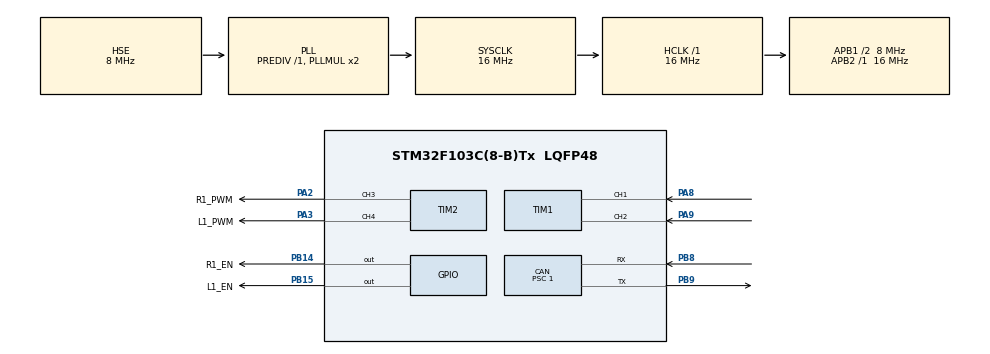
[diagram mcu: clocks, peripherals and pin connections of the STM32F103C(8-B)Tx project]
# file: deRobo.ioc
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CAN.ABOM=ENABLE
CAN.BS1=CAN_BS1_6TQ
CAN.CalculateBaudRate=1000000
CAN.CalculateTimeBit=1000
CAN.CalculateTimeQuantum=125.0
CAN.Prescaler=1
Mcu.Family=STM32F1
Mcu.Name=STM32F103C(8-B)Tx
Mcu.Package=LQFP48
NVIC.CAN1_RX1_IRQn=true\:0\:0\:false\:false\:true\:true\:true\:true
NVIC.CAN1_SCE_IRQn=true\:0\:0\:false\:false\:true\:true\:true\:true
NVIC.PriorityGroup=NVIC_PRIORITYGROUP_4
NVIC.USB_HP_CAN1_TX_IRQn=true\:0\:0\:false\:false\:true\:true\:true\:true
NVIC.USB_LP_CAN1_RX0_IRQn=true\:0\:0\:false\:false\:true\:true\:true\:true
PA13.Mode=Serial_Wire
PA13.Signal=SYS_JTMS-SWDIO
PA14.Mode=Serial_Wire
PA14.Signal=SYS_JTCK-SWCLK
PA2.GPIO_Label=R1_PWM
PA2.Signal=S_TIM2_CH3
PA3.GPIO_Label=L1_PWM
PA3.Signal=S_TIM2_CH4
PA8.Signal=S_TIM1_CH1
PA9.Signal=S_TIM1_CH2
PB14.GPIO_Label=R1_EN
PB14.PinState=GPIO_PIN_SET
PB14.Signal=GPIO_Output
PB15.GPIO_Label=L1_EN
PB15.PinState=GPIO_PIN_SET
PB15.Signal=GPIO_Output
PB8.Mode=CAN_Activate
PB8.Signal=CAN_RX
PB9.Mode=CAN_Activate
PB9.Signal=CAN_TX
PD0-OSC_IN.Mode=HSE-External-Oscillator
PD0-OSC_IN.Signal=RCC_OSC_IN
PD1-OSC_OUT.Mode=HSE-External-Oscillator
PD1-OSC_OUT.Signal=RCC_OSC_OUT
ProjectManager.HeapSize=0x200
ProjectManager.StackSize=0x400
ProjectManager.TargetToolchain=MDK-ARM V5.32
RCC.AHBFreq_Value=16000000
RCC.APB1CLKDivider=RCC_HCLK_DIV2
RCC.APB1Freq_Value=8000000
RCC.APB1TimFreq_Value=16000000
RCC.APB2Freq_Value=16000000
RCC.APB2TimFreq_Value=16000000
RCC.HCLKFreq_Value=16000000
RCC.PLLSourceVirtual=RCC_PLLSOURCE_HSE
RCC.SYSCLKFreq_VALUE=16000000
RCC.SYSCLKSource=RCC_SYSCLKSOURCE_PLLCLK
RCC.USBFreq_Value=16000000
SH.S_TIM1_CH1.0=TIM1_CH1,Encoder_Interface
SH.S_TIM1_CH2.0=TIM1_CH2,Encoder_Interface
SH.S_TIM2_CH3.0=TIM2_CH3,PWM Generation3 CH3
SH.S_TIM2_CH4.0=TIM2_CH4,PWM Generation4 CH4
TIM1.EncoderMode=TIM_ENCODERMODE_TI12
TIM2.Channel-PWM\ Generation3\ CH3=TIM_CHANNEL_3
TIM2.Channel-PWM\ Generation4\ CH4=TIM_CHANNEL_4
VP_TIM3_VS_ClockSourceINT.Mode=Internal
board=custom

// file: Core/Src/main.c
/* USER CODE BEGIN Header */
/**
  ******************************************************************************
  * @file           : main.c
  * @brief          : Main program body
  ******************************************************************************
  * @attention
  *
  * Copyright (c) 2024 STMicroelectronics.
  * All rights reserved.
  *
  * This software is licensed under terms that can be found in the LICENSE file
  * in the root directory of this software component.
  * If no LICENSE file comes with this software, it is provided AS-IS.
  *
  ******************************************************************************
  */
/* USER CODE END Header */
#include "main.h"

CAN_HandleTypeDef hcan;

TIM_HandleTypeDef htim1;
TIM_HandleTypeDef htim2;
TIM_HandleTypeDef htim3;

void SystemClock_Config(void);
static void MX_GPIO_Init(void);
static void MX_CAN_Init(void);
static void MX_TIM2_Init(void);
static void MX_TIM1_Init(void);
static void MX_TIM3_Init(void);
/* USER CODE BEGIN PFP */

void PWM_setFreq_Hz(TIM_HandleTypeDef *htim, uint32_t Freq);
void PWM_setDuty(TIM_HandleTypeDef *htim, HAL_TIM_ActiveChannel Channel, uint8_t Duty);

void Can_FilterConfig(void);
void CAN_Tx(uint32_t Id , uint8_t *tData,uint8_t len);
void Can_Rx(uint8_t *rxData);

/* USER CODE END PFP */

int main(void)
{

  /* USER CODE BEGIN 1 */
	volatile uint32_t encoder_count = 0;
	volatile uint32_t encoder_pre = 0;
	volatile uint32_t rate = 0;
  /* USER CODE END 1 */

  /* MCU Configuration--------------------------------------------------------*/

  /* Reset of all peripherals, Initializes the Flash interface and the Systick. */
  HAL_Init();

  /* Configure the system clock */
  SystemClock_Config();

  /* Initialize all configured peripherals */
  MX_GPIO_Init();
  MX_CAN_Init();
  MX_TIM2_Init();
  MX_TIM1_Init();
  MX_TIM3_Init();
  /* USER CODE BEGIN 2 */
	if(HAL_TIM_PWM_Start(&htim2, TIM_CHANNEL_3) != HAL_OK)
	{
		Error_Handler();
	}
	if(HAL_TIM_PWM_Start(&htim2, TIM_CHANNEL_4) != HAL_OK)
	{
		Error_Handler();
	}
	if(HAL_TIM_Encoder_Start(&htim1, TIM_CHANNEL_1|TIM_CHANNEL_2) != HAL_OK)
	{
		Error_Handler();
	}
	if(HAL_CAN_Start(&hcan) != HAL_OK)
	{
		Error_Handler();
	}

	PWM_setFreq_Hz(&htim2,4000);
	PWM_setDuty(&htim2, TIM_CHANNEL_3,20);
	PWM_setDuty(&htim2, TIM_CHANNEL_4,60);

  /* USER CODE END 2 */

  /* Infinite loop */
  while (1)
  {

    /* USER CODE BEGIN 3 */
		encoder_count = __HAL_TIM_GetCounter(&htim1);
		rate = encoder_count - encoder_pre;
		encoder_pre = encoder_count;
		HAL_Delay(1000);
  }
  /* USER CODE END 3 */
}

void SystemClock_Config(void)
{
  RCC_OscInitTypeDef RCC_OscInitStruct = {0};
  RCC_ClkInitTypeDef RCC_ClkInitStruct = {0};

  /** Initializes the RCC Oscillators according to the specified parameters
  * in the RCC_OscInitTypeDef structure.
  */
  RCC_OscInitStruct.OscillatorType = RCC_OSCILLATORTYPE_HSE;
  RCC_OscInitStruct.HSEState = RCC_HSE_ON;
  RCC_OscInitStruct.HSEPredivValue = RCC_HSE_PREDIV_DIV1;
  RCC_OscInitStruct.HSIState = RCC_HSI_ON;
  RCC_OscInitStruct.PLL.PLLState = RCC_PLL_ON;
  RCC_OscInitStruct.PLL.PLLSource = RCC_PLLSOURCE_HSE;
  RCC_OscInitStruct.PLL.PLLMUL = RCC_PLL_MUL2;
  if (HAL_RCC_OscConfig(&RCC_OscInitStruct) != HAL_OK)
  {
    Error_Handler();
  }

  /** Initializes the CPU, AHB and APB buses clocks
  */
  RCC_ClkInitStruct.ClockType = RCC_CLOCKTYPE_HCLK|RCC_CLOCKTYPE_SYSCLK
                              |RCC_CLOCKTYPE_PCLK1|RCC_CLOCKTYPE_PCLK2;
  RCC_ClkInitStruct.SYSCLKSource = RCC_SYSCLKSOURCE_PLLCLK;
  RCC_ClkInitStruct.AHBCLKDivider = RCC_SYSCLK_DIV1;
  RCC_ClkInitStruct.APB1CLKDivider = RCC_HCLK_DIV2;
  RCC_ClkInitStruct.APB2CLKDivider = RCC_HCLK_DIV1;

  if (HAL_RCC_ClockConfig(&RCC_ClkInitStruct, FLASH_LATENCY_0) != HAL_OK)
  {
    Error_Handler();
  }
}

static void MX_CAN_Init(void)
{

  hcan.Instance = CAN1;
  hcan.Init.Prescaler = 1;
  hcan.Init.Mode = CAN_MODE_NORMAL;
  hcan.Init.SyncJumpWidth = CAN_SJW_1TQ;
  hcan.Init.TimeSeg1 = CAN_BS1_6TQ;
  hcan.Init.TimeSeg2 = CAN_BS2_1TQ;
  hcan.Init.TimeTriggeredMode = DISABLE;
  hcan.Init.AutoBusOff = ENABLE;
  hcan.Init.AutoWakeUp = DISABLE;
  hcan.Init.AutoRetransmission = DISABLE;
  hcan.Init.ReceiveFifoLocked = DISABLE;
  hcan.Init.TransmitFifoPriority = DISABLE;
  if (HAL_CAN_Init(&hcan) != HAL_OK)
  {
    Error_Handler();
  }
  /* USER CODE BEGIN CAN_Init 2 */
	Can_FilterConfig();
  /* USER CODE END CAN_Init 2 */

}

static void MX_TIM1_Init(void)
{

  TIM_Encoder_InitTypeDef sConfig = {0};
  TIM_MasterConfigTypeDef sMasterConfig = {0};

  htim1.Instance = TIM1;
  htim1.Init.Prescaler = 0;
  htim1.Init.CounterMode = TIM_COUNTERMODE_UP;
  htim1.Init.Period = 65535;
  htim1.Init.ClockDivision = TIM_CLOCKDIVISION_DIV1;
  htim1.Init.RepetitionCounter = 0;
  htim1.Init.AutoReloadPreload = TIM_AUTORELOAD_PRELOAD_DISABLE;
  sConfig.EncoderMode = TIM_ENCODERMODE_TI12;
  sConfig.IC1Polarity = TIM_ICPOLARITY_RISING;
  sConfig.IC1Selection = TIM_ICSELECTION_DIRECTTI;
  sConfig.IC1Prescaler = TIM_ICPSC_DIV1;
  sConfig.IC1Filter = 0;
  sConfig.IC2Polarity = TIM_ICPOLARITY_RISING;
  sConfig.IC2Selection = TIM_ICSELECTION_DIRECTTI;
  sConfig.IC2Prescaler = TIM_ICPSC_DIV1;
  sConfig.IC2Filter = 0;
  if (HAL_TIM_Encoder_Init(&htim1, &sConfig) != HAL_OK)
  {
    Error_Handler();
  }
  sMasterConfig.MasterOutputTrigger = TIM_TRGO_RESET;
  sMasterConfig.MasterSlaveMode = TIM_MASTERSLAVEMODE_DISABLE;
  if (HAL_TIMEx_MasterConfigSynchronization(&htim1, &sMasterConfig) != HAL_OK)
  {
    Error_Handler();
  }

}

static void MX_TIM2_Init(void)
{

  TIM_MasterConfigTypeDef sMasterConfig = {0};
  TIM_OC_InitTypeDef sConfigOC = {0};

  htim2.Instance = TIM2;
  htim2.Init.Prescaler = 0;
  htim2.Init.CounterMode = TIM_COUNTERMODE_UP;
  htim2.Init.Period = 65535;
  htim2.Init.ClockDivision = TIM_CLOCKDIVISION_DIV1;
  htim2.Init.AutoReloadPreload = TIM_AUTORELOAD_PRELOAD_DISABLE;
  if (HAL_TIM_PWM_Init(&htim2) != HAL_OK)
  {
    Error_Handler();
  }
  sMasterConfig.MasterOutputTrigger = TIM_TRGO_RESET;
  sMasterConfig.MasterSlaveMode = TIM_MASTERSLAVEMODE_DISABLE;
  if (HAL_TIMEx_MasterConfigSynchronization(&htim2, &sMasterConfig) != HAL_OK)
  {
    Error_Handler();
  }
  sConfigOC.OCMode = TIM_OCMODE_PWM1;
  sConfigOC.Pulse = 0;
  sConfigOC.OCPolarity = TIM_OCPOLARITY_HIGH;
  sConfigOC.OCFastMode = TIM_OCFAST_DISABLE;
  if (HAL_TIM_PWM_ConfigChannel(&htim2, &sConfigOC, TIM_CHANNEL_3) != HAL_OK)
  {
    Error_Handler();
  }
  if (HAL_TIM_PWM_ConfigChannel(&htim2, &sConfigOC, TIM_CHANNEL_4) != HAL_OK)
  {
    Error_Handler();
  }
  HAL_TIM_MspPostInit(&htim2);

}

static void MX_TIM3_Init(void)
{

  TIM_ClockConfigTypeDef sClockSourceConfig = {0};
  TIM_MasterConfigTypeDef sMasterConfig = {0};

  htim3.Instance = TIM3;
  htim3.Init.Prescaler = 0;
  htim3.Init.CounterMode = TIM_COUNTERMODE_UP;
  htim3.Init.Period = 65535;
  htim3.Init.ClockDivision = TIM_CLOCKDIVISION_DIV1;
  htim3.Init.AutoReloadPreload = TIM_AUTORELOAD_PRELOAD_DISABLE;
  if (HAL_TIM_Base_Init(&htim3) != HAL_OK)
  {
    Error_Handler();
  }
  sClockSourceConfig.ClockSource = TIM_CLOCKSOURCE_INTERNAL;
  if (HAL_TIM_ConfigClockSource(&htim3, &sClockSourceConfig) != HAL_OK)
  {
    Error_Handler();
  }
  sMasterConfig.MasterOutputTrigger = TIM_TRGO_RESET;
  sMasterConfig.MasterSlaveMode = TIM_MASTERSLAVEMODE_DISABLE;
  if (HAL_TIMEx_MasterConfigSynchronization(&htim3, &sMasterConfig) != HAL_OK)
  {
    Error_Handler();
  }

}

static void MX_GPIO_Init(void)
{
  GPIO_InitTypeDef GPIO_InitStruct = {0};

  /* GPIO Ports Clock Enable */
  __HAL_RCC_GPIOD_CLK_ENABLE();
  __HAL_RCC_GPIOA_CLK_ENABLE();
  __HAL_RCC_GPIOB_CLK_ENABLE();

  /*Configure GPIO pin Output Level */
  HAL_GPIO_WritePin(GPIOB, R1_EN_Pin|L1_EN_Pin, GPIO_PIN_SET);

  /*Configure GPIO pins : R1_EN_Pin L1_EN_Pin */
  GPIO_InitStruct.Pin = R1_EN_Pin|L1_EN_Pin;
  GPIO_InitStruct.Mode = GPIO_MODE_OUTPUT_PP;
  GPIO_InitStruct.Pull = GPIO_NOPULL;
  GPIO_InitStruct.Speed = GPIO_SPEED_FREQ_LOW;
  HAL_GPIO_Init(GPIOB, &GPIO_InitStruct);

}

/* USER CODE BEGIN 4 */
void CAN_Tx(uint32_t Id , uint8_t *tData,uint8_t len)
{
	CAN_TxHeaderTypeDef txheader;
	uint32_t txMailbox;
	txheader.DLC = len;
	txheader.StdId = Id;
	txheader.IDE = CAN_ID_STD;
	txheader.RTR = CAN_RTR_DATA;
	if(HAL_CAN_AddTxMessage(&hcan, &txheader, tData, &txMailbox) != HAL_OK)
	{
		Error_Handler();
	}
	while(HAL_CAN_IsTxMessagePending(&hcan, txMailbox));
}

void Can_Rx(uint8_t *rxData)
{
	CAN_RxHeaderTypeDef rxheader;
	while(!HAL_CAN_GetRxFifoFillLevel(&hcan, CAN_RX_FIFO0));
	if(HAL_CAN_GetRxMessage(&hcan, CAN_FilterFIFO0, &rxheader, rxData) != HAL_OK)
	{
		Error_Handler();
	}
}

void Can_FilterConfig(void)
{
	CAN_FilterTypeDef CanfilterConf;
	CanfilterConf.FilterActivation ;
	CanfilterConf.FilterBank;
	CanfilterConf.FilterFIFOAssignment;
	CanfilterConf.FilterIdHigh;
	CanfilterConf.FilterIdLow;
	CanfilterConf.FilterMaskIdHigh;
	CanfilterConf.FilterMaskIdLow;
	CanfilterConf.FilterMode;
	CanfilterConf.FilterScale;
//	CanfilterConf.SlaveStartFilterBank;
	HAL_CAN_ConfigFilter(&hcan, &CanfilterConf);
}

void PWM_setFreq_Hz(TIM_HandleTypeDef *htim, uint32_t freq)
{
	uint32_t Ftim;
	if(htim->Instance == TIM1)
	{
		Ftim = HAL_RCC_GetPCLK2Freq();
		if(((RCC->CFGR >> 11) & 0x7) >= 0x4)
		{
			Ftim = Ftim * 2;
		}
	}else if(htim->Instance == TIM2 || htim->Instance == TIM3|| htim->Instance == TIM4)
	{
		Ftim = HAL_RCC_GetPCLK1Freq();
		if(((RCC->CFGR >> 8) & 0x7) >= 0x4)
		{
			Ftim = Ftim * 2;
		}
	}else
	{
		Error_Handler();
	}
	uint16_t PSCtim = htim->Instance->PSC;
	uint16_t ARRtim = Ftim/((PSCtim + 1) * freq);
	__HAL_TIM_SetAutoreload(htim, ARRtim);
}
void PWM_setDuty(TIM_HandleTypeDef *htim, HAL_TIM_ActiveChannel Channel, uint8_t Duty)
{

	__HAL_TIM_SetCompare(htim,Channel, (__HAL_TIM_GetAutoreload(htim)*Duty/100));
}

void HAL_CAN_TxMailbox0CompleteCallback(CAN_HandleTypeDef *hcan)
{

}
void HAL_CAN_TxMailbox1CompleteCallback(CAN_HandleTypeDef *hcan){}
void HAL_CAN_TxMailbox2CompleteCallback(CAN_HandleTypeDef *hcan){}
void HAL_CAN_RxFifo0MsgPendingCallback(CAN_HandleTypeDef *hcan){}
void HAL_CAN_RxFifo1MsgPendingCallback(CAN_HandleTypeDef *hcan){}
void HAL_CAN_ErrorCallback(CAN_HandleTypeDef *hcan){}

/* USER CODE END 4 */

void Error_Handler(void)
{
  __disable_irq();
  while (1)
  {
  }
}
